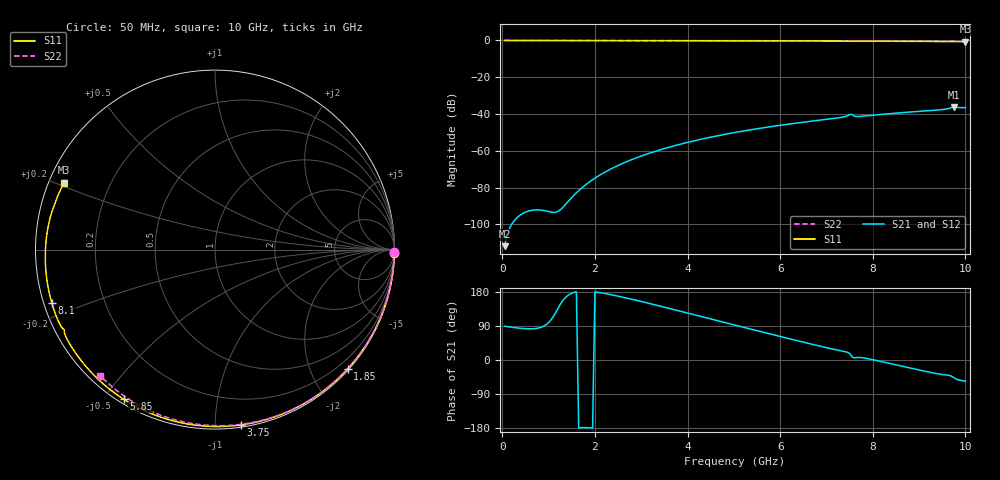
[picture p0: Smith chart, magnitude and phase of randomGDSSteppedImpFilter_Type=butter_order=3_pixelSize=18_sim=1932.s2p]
! freq	dB(S11)	phase(S11)	dB(S12)	phase(S12)
!  dB(S21)	phase(S21)	dB(S22)	phase(S22)
!S-par simulation data
#  GHz  S  DB  R 50
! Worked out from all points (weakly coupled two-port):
!   200 points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, 50 MHz to 10 GHz, reference 50 ohm
!   highest |S21| = -36.20 dB at 9.75 GHz (marker M1); lowest = -111.9 dB at 50 MHz (marker M2)
!   lowest |S11| = -0.7 dB at 10 GHz (marker M3), VSWR 23.55, Z = 2.22 + j10.6 ohm
!   |S11| at or under -10 dB: nowhere
!   |S22| runs from -0.4 to 0.0 dB; largest |S21 - S12| = 0
!   S11 on the Smith chart (normalised r, x): 50 MHz: 1, -99; 1.85 GHz: 0.02, -2.61; 3.75 GHz: 0.01, -1.16; 5.85 GHz: 0.02, -0.56; 8.1 GHz: 0.02, -0.16; 10 GHz: 0.04, +0.21
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0.05  -0.00 -1.2  -111.87 89.0  -111.87 89.0  -0.00 -0.8
0.9  -0.03 -20.7  -92.48 89.7  -92.48 89.7  -0.02 -13.7
1.7  -0.05 -38.6  -80.54 -178.5  -80.54 -178.5  -0.03 -25.7
1.75  -0.05 -39.7  -79.48 -178.3  -79.48 -178.3  -0.03 -26.4
1.85  -0.05 -41.9  -77.51 -178.6  -77.51 -178.6  -0.04 -27.9
2.15  -0.06 -48.5  -72.54 176.8  -72.54 176.8  -0.04 -32.3
2.5  -0.07 -56.0  -67.98 168.5  -67.98 168.5  -0.05 -37.4
2.9  -0.08 -64.4  -63.78 157.4  -63.78 157.4  -0.06 -43.1
3.4  -0.10 -74.7  -59.53 142.4  -59.53 142.4  -0.07 -50.2
3.75  -0.11 -81.7  -57.03 131.7  -57.03 131.7  -0.08 -55.1
4.4  -0.13 -94.4  -53.12 111.5  -53.12 111.5  -0.09 -64.0
5.05  -0.16 -106.7  -49.92 91.3  -49.92 91.3  -0.11 -72.7
5.85  -0.20 -121.4  -46.68 66.7  -46.68 66.7  -0.14 -83.0
6.7  -0.26 -136.8  -43.83 41.2  -43.83 41.2  -0.18 -93.7
7.3  -0.31 -147.7  -41.92 24.5  -41.92 24.5  -0.22 -100.9
7.55  -0.44 -152.0  -40.21 8.5  -40.21 8.5  -0.23 -103.9
7.65  -0.37 -153.5  -41.40 6.5  -41.40 6.5  -0.24 -105.1
8.1  -0.39 -162.0  -40.40 -1.8  -40.40 -1.8  -0.27 -110.5
8.35  -0.41 -166.7  -39.84 -8.6  -39.84 -8.6  -0.29 -113.4
9.5  -0.57 169.7  -37.59 -38.2  -37.59 -38.2  -0.40 -126.6
9.75  -0.65 163.6  -36.20 -46.6  -36.20 -46.6  -0.42 -129.5
10  -0.74 156.1  -36.55 -56.0  -36.55 -56.0  -0.44 -132.4
